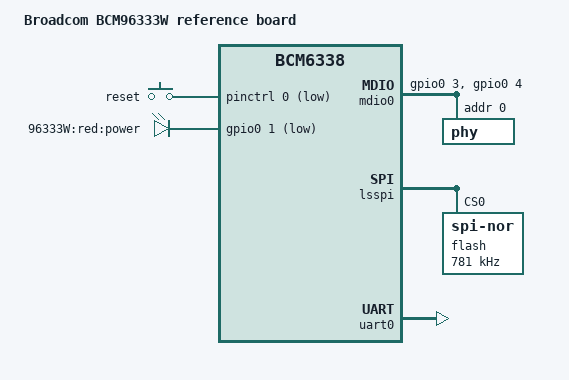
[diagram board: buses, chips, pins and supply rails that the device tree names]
/dts-v1/;

#include "bcm6338.dtsi"

#include <dt-bindings/input/input.h>

/ {
	model = "Broadcom BCM96333W reference board";
	compatible = "brcm,bcm96333w", "brcm,bcm6338";

	chosen {
		bootargs = "rootfstype=squashfs,jffs2 noinitrd console=ttyS0,115200";
		stdout-path = "serial0:115200n8";
	};

	keys {
		compatible = "gpio-keys-polled";
		#address-cells = <1>;
		#size-cells = <0>;
		poll-interval = <20>;

		reset {
			label = "reset";
			gpios = <&pinctrl 0 1>;
			linux,code = <KEY_RESET_BUTTON>;
			debounce-interval = <60>;
		};
	};

	leds {
		compatible = "gpio-leds";
		
		power_red {
			label = "96333W:red:power";
			gpios = <&gpio0 1 1>;
		};
	};

	aliases {
		mdio-gpio0 = &mdio0;
	};

	mdio0: mdio {
		compatible = "virtual,mdio-gpio";
		#address-cells = <1>;
		#size-cells = <0>;
		gpios = <&gpio0 3 0 &gpio0 4 0>;
		
		phy@0 {
			reg = <0>;
			ports {
				port0 {
					reg = <0>;
					label = "wan";
				};
				port1 {
					reg = <1>;
					label = "lan1";
				};
				port2 {
					reg = <2>;
					label = "lan2";
				};
				port3 {
					reg = <3>;
					label = "lan3";
				};
				port4 {
					reg = <4>;
					label = "cpu";
				};
			};
		};
	};
};

&lsspi {
	status = "ok";

	flash@0 {
		compatible = "jedec,spi-nor";
		spi-max-frequency = <781000>;
		reg = <0>;

		#address-cells = <1>;
		#size-cells = <1>;

		partitions {
			compatible = "brcm,bcm963xx-cfe-nor-partitions";
		};
	};
};

&uart0 {
	status = "ok";
};
